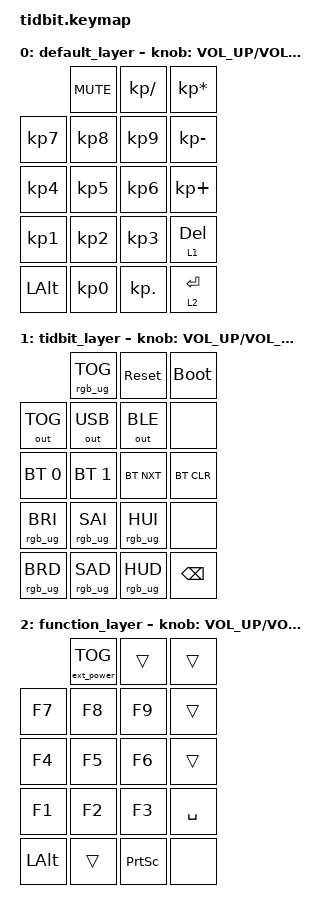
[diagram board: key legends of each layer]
/*
 * Copyright (c) 2020 The ZMK Contributors
 *
 * SPDX-License-Identifier: MIT
 */

# include <behaviors.dtsi>
# include <dt-bindings/zmk/bt.h>
# include <dt-bindings/zmk/keys.h>
# include <dt-bindings/zmk/outputs.h>
# include <dt-bindings/zmk/rgb.h>
# include <dt-bindings/zmk/ext_power.h>


/* Enable ONLY ONE of the &encoder_1 nodes. They are wired to the same pins.*/

&encoder_1 {
    status = "okay";
};

/*
&encoder_1_top_left {
    status = "okay";
};
*/

/*
&encoder_2 {
    status = "okay";
};

&encoder_3 {
    status = "okay";
};
*/

/*
&encoder_4 {
    status = "okay";
};
*/
/* Add any encoder(s) you have enabled to the sensors node, separated by spaces. */
&sensors {
    sensors = <&encoder_1>;
};


/ {
    keymap {
        compatible = "zmk,keymap";

        default_layer {
            bindings = <
                                &kp C_MUTE 	&kp KP_SLASH &kp KP_ASTERISK
                &kp KP_NUMBER_7 &kp KP_NUMBER_8 &kp KP_NUMBER_9 &kp KP_MINUS
                &kp KP_NUMBER_4 &kp KP_NUMBER_5 &kp KP_NUMBER_6 &kp KP_PLUS
                &kp KP_NUMBER_1 &kp KP_NUMBER_2 &kp KP_NUMBER_3 &lt 1 DELETE
            	&kp LALT   &kp KP_NUMBER_0 &kp KP_DOT    &lt 2 ENTER
            >;

            sensor-bindings = <&inc_dec_kp C_VOLUME_UP C_VOLUME_DOWN>;
        };

         tidbit_layer {
             bindings = <
                                &rgb_ug RGB_TOG       &sys_reset      &bootloader
                &out OUT_TOG    &out OUT_USB    &out OUT_BLE    &none
                &bt BT_SEL 0    &bt BT_SEL 1      &bt BT_NXT      &bt BT_CLR
                &rgb_ug RGB_BRI   &rgb_ug RGB_SAI    &rgb_ug RGB_HUI    &none
                &rgb_ug RGB_BRD	&rgb_ug RGB_SAD	&rgb_ug RGB_HUD	&kp BACKSPACE	
                
             >;

             sensor-bindings = <&inc_dec_kp C_VOLUME_UP C_VOLUME_DOWN>;
         };
         
         function_layer {
         	bindings = <
         						&ext_power EP_TOG		&trans	&trans
         		&kp F7	&kp F8 	&kp F9	&trans
         		&kp F4	&kp F5	&kp F6 	&trans
         		&kp F1	&kp F2	&kp F3  &kp SPACE
         		&kp LALT &trans	&kp PSCRN &none
             	>;
             	
           sensor-bindings = <&inc_dec_kp C_VOLUME_UP C_VOLUME_DOWN>;

         };
    };
};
